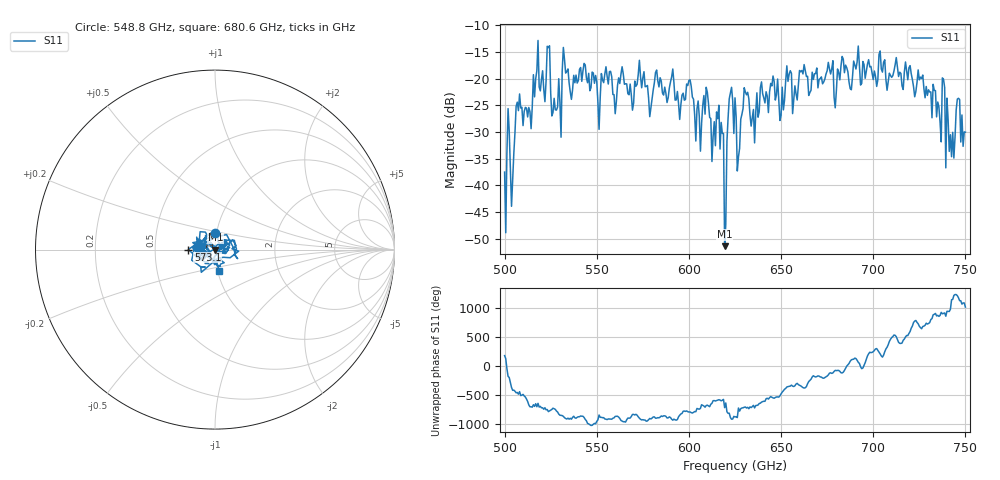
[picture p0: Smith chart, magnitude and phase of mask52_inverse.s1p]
!Created with skrf (http://scikit-rf.org).
# GHz S MA R 50.0
!freq magS11 angS11
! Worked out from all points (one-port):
!   401 points, 500 GHz to 750 GHz, reference 50 ohm
!   lowest |S11| = -51.4 dB at 619.4 GHz (marker M1), VSWR 1.01, Z = 50.3 + j0.00552 ohm
!   |S11| at or under -10 dB: start of sweep to end of sweep
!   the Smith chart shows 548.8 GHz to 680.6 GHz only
!   S11 on the Smith chart (normalised r, x): 548.8 GHz: 0.98, +0.18; 573.1 GHz: 0.74, +0.00; 680.6 GHz: 1.02, -0.25
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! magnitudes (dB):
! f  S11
! 500 GHz  -37.5
! 504.4 GHz  -38.9
! 507.5 GHz  -26.0
! 513.8 GHz  -26.2
! 516.9 GHz  -20.0
! 523.8 GHz  -14.2
! 526.9 GHz  -23.7
! 531.2 GHz  -18.5
! 548.8 GHz  -20.9
! 562.5 GHz  -20.9
! 573.1 GHz  -16.5
! 593.8 GHz  -22.4
! 600 GHz  -20.3
! 605 GHz  -24.2
! 609.4 GHz  -21.6
! 613.1 GHz  -30.8
! 617.5 GHz  -28.2
! 619.4 GHz  -51.4
! 622.5 GHz  -22.7
! 625 GHz  -23.6
! 656.2 GHz  -26.5
! 680.6 GHz  -18.2
! 687.5 GHz  -21.9
! 718.8 GHz  -20.2
! 738.8 GHz  -21.6
! 742.5 GHz  -34.6
! 745.6 GHz  -23.8
! 750 GHz  -30.0
